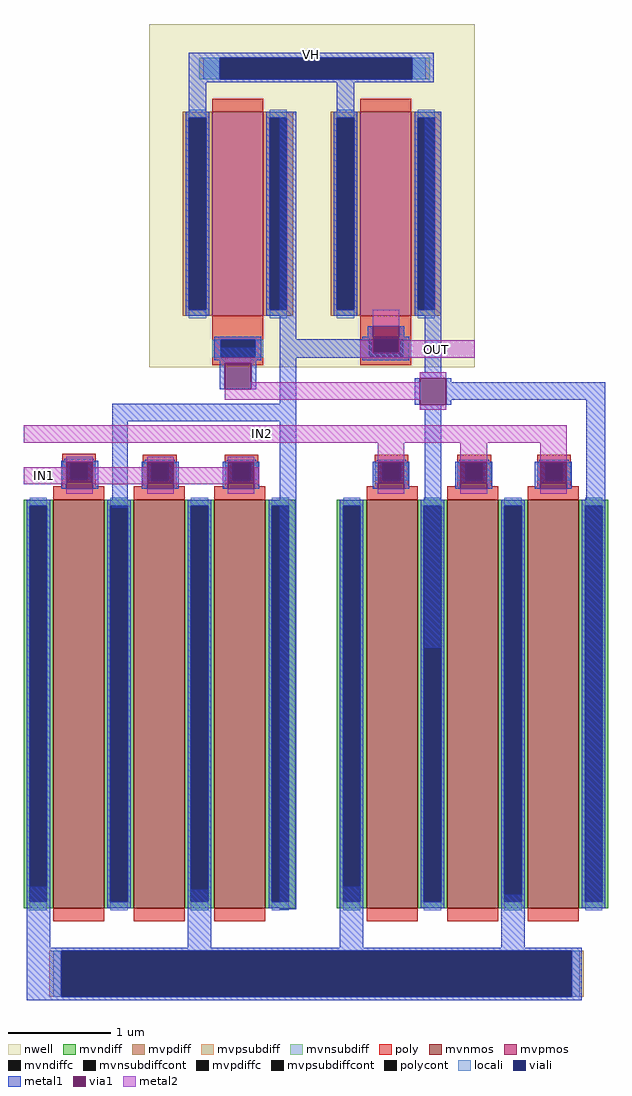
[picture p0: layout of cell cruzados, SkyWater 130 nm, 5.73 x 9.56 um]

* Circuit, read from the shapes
.subckt cruzados IN1 IN2 OUT VH
XM1 OUT IN1 VSUBS VSUBS sky130_fd_pr__nfet_g5v0d10v5 w=4 l=0.5 m=3
XM2 n1 IN2 VSUBS VSUBS sky130_fd_pr__nfet_g5v0d10v5 w=4 l=0.5 m=3
XM3 OUT n1 VH VH sky130_fd_pr__pfet_g5v0d10v5 w=2 l=0.5
XM4 n1 OUT VH VH sky130_fd_pr__pfet_g5v0d10v5 w=2 l=0.5
.ends

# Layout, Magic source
magic
tech sky130A
magscale 1 2
<< nwell >>
rect -30 0 608 672
<< mvpsubdiff >>
rect -226 -1234 -202 -1144
rect 798 -1234 822 -1144
<< mvnsubdiff >>
rect 68 564 108 606
rect 486 564 520 606
<< mvpsubdiffcont >>
rect -202 -1234 798 -1144
<< mvnsubdiffcont >>
rect 108 564 486 606
<< locali >>
rect 76 564 108 606
rect 486 564 512 606
rect -218 -1234 -202 -1144
rect 798 -1234 814 -1144
<< viali >>
rect 108 564 486 606
rect -202 -1234 798 -1144
<< metal1 >>
rect 48 606 528 616
rect 48 564 108 606
rect 486 564 528 606
rect 48 558 528 564
rect 48 488 82 558
rect 226 54 258 500
rect 338 488 372 558
rect 398 54 408 80
rect 108 8 180 38
rect 108 -44 118 8
rect 170 -44 180 8
rect 226 28 408 54
rect 460 54 470 80
rect 460 28 480 54
rect 226 18 480 28
rect 226 -72 258 18
rect 510 -10 542 500
rect 500 -22 542 -10
rect -102 -106 258 -72
rect 490 -74 500 -22
rect 552 -30 562 -22
rect 552 -64 864 -30
rect 552 -74 562 -64
rect 500 -84 542 -74
rect -202 -238 -192 -184
rect -140 -238 -130 -184
rect -102 -276 -72 -106
rect -44 -238 -34 -186
rect 18 -238 28 -186
rect 114 -238 124 -186
rect 176 -238 186 -186
rect -270 -1138 -224 -1018
rect 46 -1138 92 -1024
rect 226 -1062 258 -106
rect 408 -238 418 -186
rect 470 -238 480 -186
rect 510 -550 542 -84
rect 570 -238 580 -186
rect 632 -238 642 -186
rect 726 -238 736 -186
rect 788 -238 798 -186
rect 344 -1138 390 -1018
rect 660 -1138 706 -1034
rect 826 -1048 864 -64
rect -270 -1144 818 -1138
rect -270 -1234 -202 -1144
rect 798 -1234 818 -1144
rect -270 -1240 818 -1234
<< via1 >>
rect 118 -44 170 8
rect 408 28 460 80
rect 500 -74 552 -22
rect -192 -238 -140 -186
rect -34 -238 18 -186
rect 124 -238 176 -186
rect 418 -238 470 -186
rect 580 -238 632 -186
rect 736 -238 788 -186
<< metal2 >>
rect 408 80 460 112
rect 384 28 408 52
rect 460 28 608 52
rect 384 18 608 28
rect 118 8 170 18
rect 500 -22 552 -10
rect 170 -44 500 -30
rect 118 -64 500 -44
rect 500 -84 552 -74
rect -276 -148 788 -114
rect -192 -186 -140 -176
rect -276 -230 -192 -196
rect -34 -186 18 -176
rect -140 -230 -34 -196
rect -192 -248 -140 -238
rect 124 -186 176 -176
rect 18 -230 124 -196
rect -34 -248 18 -238
rect 418 -186 470 -148
rect 176 -230 186 -196
rect 124 -248 176 -238
rect 418 -248 470 -238
rect 580 -186 632 -148
rect 580 -248 632 -238
rect 736 -186 788 -148
rect 736 -248 788 -238
use cont_poly_min  cont_poly_min_1
transform 1 0 763 0 1 -271
box -33 33 33 99
use cont_poly_min  cont_poly_min_2
transform 1 0 607 0 1 -271
box -33 33 33 99
use cont_poly_min  cont_poly_min_3
transform 1 0 445 0 1 -271
box -33 33 33 99
use cont_poly_min  cont_poly_min_4
transform 1 0 151 0 1 -271
box -33 33 33 99
use cont_poly_min  cont_poly_min_5
transform 1 0 -9 0 1 -271
box -33 33 33 99
use cont_poly_min  cont_poly_min_6
transform 1 0 -167 0 1 -269
box -33 33 33 99
use sky130_fd_pr__nfet_g5v0d10v5_C7Z2GC  sky130_fd_pr__nfet_g5v0d10v5_C7Z2GC_0
transform 1 0 -10 0 1 -660
box -266 -426 266 426
use sky130_fd_pr__nfet_g5v0d10v5_C7Z2GC  sky130_fd_pr__nfet_g5v0d10v5_C7Z2GC_1
transform 1 0 604 0 1 -660
box -266 -426 266 426
use sky130_fd_pr__pfet_g5v0d10v5_BUUKVD  sky130_fd_pr__pfet_g5v0d10v5_BUUKVD_0
transform 1 0 144 0 1 264
box -174 -264 174 302
use sky130_fd_pr__pfet_g5v0d10v5_BUUKVD  sky130_fd_pr__pfet_g5v0d10v5_BUUKVD_1
transform 1 0 434 0 1 264
box -174 -264 174 302
<< labels >>
rlabel metal2 460 18 608 52 1 OUT
rlabel metal1 48 610 528 616 1 VH
rlabel metal2 -276 -230 -192 -196 1 IN1
rlabel metal2 -26 -148 410 -114 1 IN2
<< end >>

# cell cont_poly_min: kit device sky130_fd_pr__nfet_01v8, w 0.420 l 0.150 m 1 nf 1 diffcov 100 polycov 100 guard 0 glc 0 grc 0 gtc 0 gbc 0 tbcov 100 rlcov 100 topc 1 botc 0 poverlap 0 doverlap 0 lmin 0.15 wmin 0.42 compatible {sky130_fd_pr__nfet_01v8 sky130_fd_pr__nfet_01v8_lvt sky130_fd_bs_flash__special_sonosfet_star sky130_fd_pr__nfet_g5v0d10v5 sky130_fd_pr__nfet_05v0_nvt sky130_fd_pr__nfet_03v3_nvt} full_metal 0 viasrc 100 viadrn 100 viagate 100 viagb 0 viagr 0 viagl 0 viagt 0

# cell sky130_fd_pr__nfet_g5v0d10v5_C7Z2GC: kit device sky130_fd_pr__nfet_g5v0d10v5, w 4 l 0.50 m 1 nf 3 diffcov 100 polycov 100 guard 0 glc 0 grc 0 gtc 0 gbc 0 tbcov 100 rlcov 100 topc 0 botc 0 poverlap 0 doverlap 1 lmin 0.50 wmin 0.42 compatible {sky130_fd_pr__nfet_01v8 sky130_fd_pr__nfet_01v8_lvt sky130_fd_bs_flash__special_sonosfet_star sky130_fd_pr__nfet_g5v0d10v5 sky130_fd_pr__nfet_05v0_nvt sky130_fd_pr__nfet_03v3_nvt} full_metal 0 viasrc 100 viadrn 100 viagate 100 viagb 0 viagr 0 viagl 0 viagt 0

# cell sky130_fd_pr__pfet_g5v0d10v5_BUUKVD: kit device sky130_fd_pr__pfet_g5v0d10v5, w 2 l 0.5 m 1 nf 1 diffcov 100 polycov 100 guard 0 glc 0 grc 0 gtc 0 gbc 0 tbcov 100 rlcov 100 topc 0 botc 1 poverlap 0 doverlap 1 lmin 0.50 wmin 0.42 compatible {sky130_fd_pr__pfet_01v8 sky130_fd_pr__pfet_01v8_lvt sky130_fd_pr__pfet_01v8_hvt sky130_fd_pr__pfet_g5v0d10v5} full_metal 0 viasrc 100 viadrn 100 viagate 100 viagb 0 viagr 0 viagl 0 viagt 0
